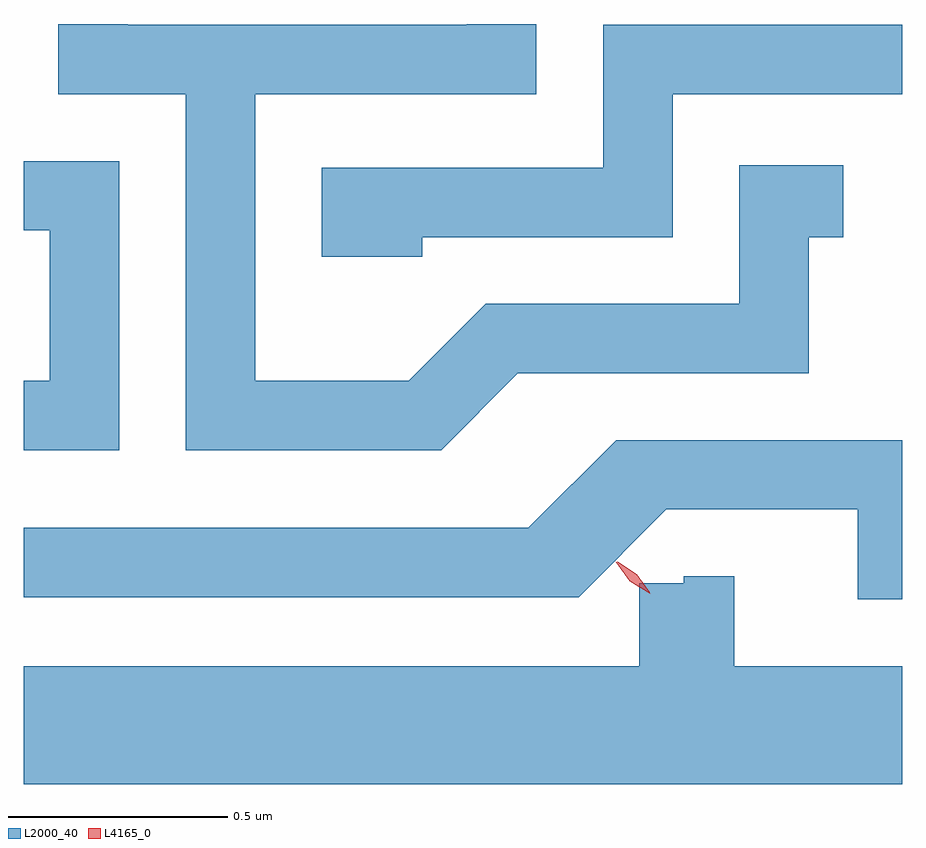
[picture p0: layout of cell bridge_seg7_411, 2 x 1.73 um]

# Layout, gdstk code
import gdstk
lib = gdstk.Library(unit=1e-6, precision=1e-09)
def P(c, l, *ps):  # polygons
    for p in ps: c.add(gdstk.Polygon(p, *l))
L2000_40 = (2000, 40)
L4165_0 = (4165, 0)

bridge_seg7_411 = lib.new_cell('bridge_seg7_411')
P(bridge_seg7_411, L2000_40, [(1103.277,1748.551),(1103.939,1748.551),(1103.939,1748.861),(1104.018,1748.861),(1104.018,1749.024),(1103.781,1749.024),(1103.781,1748.709),(1103.204,1748.709),(1103.029,1748.534),(1102.679,1748.534),(1102.679,1749.186),(1103.319,1749.186),(1103.319,1749.346),(1103.161,1749.346),(1103.161,1749.344),(1102.389,1749.344),(1102.389,1749.346),(1102.231,1749.346),(1102.231,1749.186),(1102.521,1749.186),(1102.521,1748.376),(1103.102,1748.376)],
  [(1103.059,1748.861),(1103.629,1748.861),(1103.629,1749.186),(1104.152,1749.186),(1104.152,1749.344),(1103.471,1749.344),(1103.471,1749.019),(1102.831,1749.019),(1102.831,1748.816),(1103.059,1748.816)],
  [(1102.369,1749.034),(1102.152,1749.034),(1102.152,1748.876),(1102.211,1748.876),(1102.211,1748.534),(1102.152,1748.534),(1102.152,1748.376),(1102.369,1748.376)],
  [(1104.152,1748.399),(1103.501,1748.399),(1103.301,1748.199),(1102.152,1748.199),(1102.152,1748.041),(1103.415,1748.041),(1103.615,1748.241),(1104.051,1748.241),(1104.051,1748.036),(1104.152,1748.036)],
  [(1104.152,1747.884),(1103.769,1747.884),(1103.769,1748.089),(1103.655,1748.089),(1103.655,1748.073),(1103.553,1748.073),(1103.553,1747.884),(1102.152,1747.884),(1102.152,1747.616),(1104.152,1747.616)])
P(bridge_seg7_411, L4165_0, [(1103.578,1748.049),(1103.532,1748.078),(1103.5,1748.122),(1103.5,1748.122),(1103.5,1748.122),(1103.546,1748.093),(1103.578,1748.049),(1103.578,1748.049)],
  [(1103.576,1748.051),(1103.533,1748.08),(1103.503,1748.122),(1103.503,1748.122),(1103.504,1748.122),(1103.547,1748.094),(1103.577,1748.052),(1103.577,1748.051)])

lib.write_gds('bridge_seg7_411.gds')
